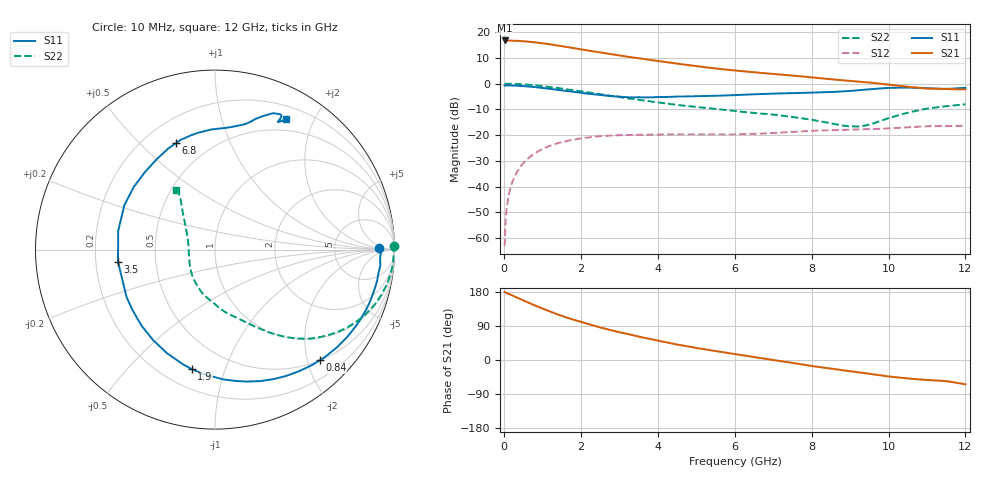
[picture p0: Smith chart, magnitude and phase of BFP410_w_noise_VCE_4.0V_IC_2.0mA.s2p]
! Infineon Technologies  Discrete & RF Semiconductors
! BFP410
! VCE =  4.0 V,  IC =  2.0 mA
! Common Emitter S-Parameters:  Nov 2015
# GHz  S  MA  R  50
!  f  S11  S21  S12  S22
! GHz  MAG  ANG  MAG  ANG  MAG  ANG  MAG  ANG
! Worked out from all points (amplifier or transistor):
!   243 points, 10 MHz to 12 GHz, reference 50 ohm
!   highest |S21| = 16.8 dB at 10 MHz (marker M1)
!   |S21| within 3 dB of that: start of sweep to 1.811 GHz
!   unconditionally stable (mu >= 1): 4.122 GHz to end of sweep
!   at 240 MHz: K = 0.06, MSG = 26.9 dB, |S12| = -37.1 dB
!   at 1.84 GHz: K = 0.37, MSG = 17.7 dB, |S12| = -21.6 dB
!   at 12 GHz: K = 1.14, MAG = 4.8 dB, |S12| = -16.3 dB
!   lowest NFmin = 0.82 dB at 900 MHz
!   S11 on the Smith chart (normalised r, x): 10 MHz: 21, +3; 840 MHz: 0.50, -2.23; 1.9 GHz: 0.31, -0.77; 3.5 GHz: 0.30, -0.06; 6.8 GHz: 0.33, +0.64; 12 GHz: 0.35, +1.63
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0.01  0.9125 0.7  6.885 179.5  0.0007 12.5  1 1.2
0.025  0.9248 -0.7  6.825 178.8  0.0016 70.5  0.9903 0.2
0.07  0.9224 -3.8  6.817 176.4  0.0041 81.8  0.9959 -1.5
0.2  0.9197 -11.0  6.826 170.8  0.0116 82.3  0.9925 -5.3
0.6  0.8834 -33.3  6.561 152.3  0.0341 71.7  0.9575 -15.9
0.84  0.8491 -46.6  6.276 142.1  0.0464 64.8  0.922 -21.9
1.06  0.8132 -58.5  5.982 133.0  0.0567 58.8  0.8836 -27.0
1.3  0.7741 -71.2  5.635 123.6  0.0665 52.5  0.8395 -32.1
1.6  0.7242 -86.5  5.189 112.9  0.0764 45.3  0.7819 -37.8
1.9  0.6785 -101.0  4.766 103.3  0.0845 39.0  0.7282 -42.9
2.02  0.6604 -106.4  4.597 99.7  0.0871 36.7  0.7073 -44.5
2.4  0.6107 -124.4  4.145 88.6  0.094 29.6  0.6407 -49.9
2.78  0.5724 -142.1  3.731 78.5  0.0982 23.5  0.5782 -54.6
3.5  0.5445 -172.8  3.103 61.5  0.1018 14.6  0.4842 -62.5
4.1  0.5489 166.0  2.688 49.0  0.1031 9.4  0.422 -69.1
5  0.5719 142.3  2.183 31.7  0.1033 3.5  0.3521 -80.9
6.1  0.6023 121.3  1.77 14.1  0.1038 0.3  0.2885 -93.9
6.8  0.6314 110.3  1.586 3.2  0.1082 -0.7  0.258 -104.2
8.2  0.6743 88.2  1.282 -18.6  0.1226 -6.7  0.1861 -134.2
9.2  0.7432 74.2  1.097 -32.2  0.1283 -11.2  0.1471 178.1
10.2  0.8314 65.6  0.92 -45.5  0.138 -14.9  0.2368 136.2
12  0.8285 61.3  0.776 -64.2  0.1523 -27.9  0.3966 123.2
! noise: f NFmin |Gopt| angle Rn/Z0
0.45  0.86  0.5  7  0.29
0.9  0.82  0.48  21  0.27
1.8  1.05  0.37  55  0.23
2.4  1.09  0.36  63  0.19
5.5  2.24  0.36  -145  0.21
10  3.98  0.7  -56  2.38
